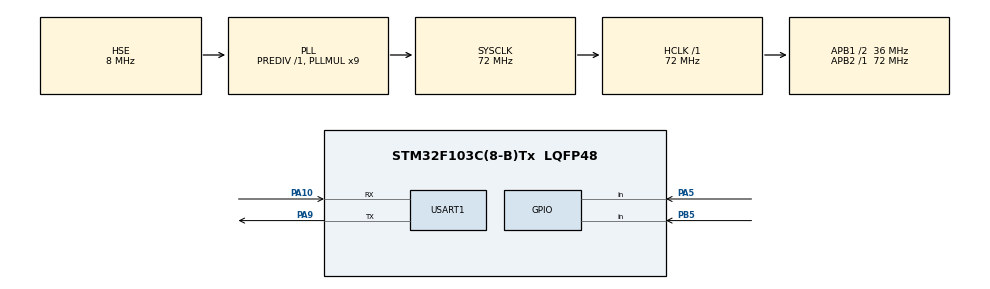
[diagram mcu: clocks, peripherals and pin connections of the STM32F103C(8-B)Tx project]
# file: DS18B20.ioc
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Mcu.Family=STM32F1
Mcu.Name=STM32F103C(8-B)Tx
Mcu.Package=LQFP48
NVIC.PriorityGroup=NVIC_PRIORITYGROUP_4
PA10.Mode=Asynchronous
PA10.Signal=USART1_RX
PA13.Mode=Serial_Wire
PA13.Signal=SYS_JTMS-SWDIO
PA14.Mode=Serial_Wire
PA14.Signal=SYS_JTCK-SWCLK
PA5.Signal=GPIO_Input
PA9.Mode=Asynchronous
PA9.Signal=USART1_TX
PB5.Signal=GPIO_Input
PD0-OSC_IN.Mode=HSE-External-Oscillator
PD0-OSC_IN.Signal=RCC_OSC_IN
PD1-OSC_OUT.Mode=HSE-External-Oscillator
PD1-OSC_OUT.Signal=RCC_OSC_OUT
ProjectManager.HeapSize=0x200
ProjectManager.StackSize=0x400
ProjectManager.TargetToolchain=MDK-ARM V5.27
RCC.AHBFreq_Value=72000000
RCC.APB1CLKDivider=RCC_HCLK_DIV2
RCC.APB1Freq_Value=36000000
RCC.APB1TimFreq_Value=72000000
RCC.APB2Freq_Value=72000000
RCC.APB2TimFreq_Value=72000000
RCC.HCLKFreq_Value=72000000
RCC.PLLMUL=RCC_PLL_MUL9
RCC.PLLSourceVirtual=RCC_PLLSOURCE_HSE
RCC.SYSCLKFreq_VALUE=72000000
RCC.SYSCLKSource=RCC_SYSCLKSOURCE_PLLCLK
RCC.USBFreq_Value=72000000
USART1.VirtualMode=VM_ASYNC
board=custom

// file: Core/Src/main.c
/* USER CODE BEGIN Header */
/**
  ******************************************************************************
  * @file           : main.c
  * @brief          : Main program body
  ******************************************************************************
  * @attention
  *
  * <h2><center>&copy; Copyright (c) 2024 STMicroelectronics.
  * All rights reserved.</center></h2>
  *
  * This software component is licensed by ST under BSD 3-Clause license,
  * the "License"; You may not use this file except in compliance with the
  * License. You may obtain a copy of the License at:
  *                        opensource.org/licenses/BSD-3-Clause
  *
  ******************************************************************************
  */
/* USER CODE END Header */
#include "main.h"

/* USER CODE BEGIN Includes */

#include "18b20.h"
/* USER CODE END Includes */

UART_HandleTypeDef huart1;

/* USER CODE BEGIN PV */
#include <stdio.h>
 //重定向c库函数printf到串口USARTx，重定向后可使用printf函数
 int fputc(int ch, FILE *f)
 {
     /* 发送一个字节数据到串口USARTx */
     HAL_UART_Transmit(&huart1, (uint8_t *)&ch, 1, 0xFFFF);
     return (ch);
 }

/* USER CODE END PV */

void SystemClock_Config(void);
static void MX_GPIO_Init(void);
static void MX_USART1_UART_Init(void);

int main(void)
{
  /* USER CODE BEGIN 1 */
 float temperature = 0;
  /* USER CODE END 1 */

  /* MCU Configuration--------------------------------------------------------*/

  /* Reset of all peripherals, Initializes the Flash interface and the Systick. */
  HAL_Init();

  /* Configure the system clock */
  SystemClock_Config();

  /* Initialize all configured peripherals */
  MX_GPIO_Init();
  MX_USART1_UART_Init();
  /* USER CODE BEGIN 2 */
    while(DS18B20_Init())
    {
        printf("DS18B20 checked failed!!!\r\n");
        HAL_Delay(500);
    }
    printf("DS18B20 checked success!!!\r\n");
  /* USER CODE END 2 */

  /* Infinite loop */
  /* USER CODE BEGIN WHILE */
  while (1)
  {
       temperature = DS18B20_Get_Temperature();
		if(temperature < 0)
            printf("temperature = -%.2f degree\r\n",temperature/10);
		else
            printf("temperature = %.2f degree\r\n",temperature/10);
		HAL_Delay(200);
    /* USER CODE END WHILE */

  }
}

void SystemClock_Config(void)
{
  RCC_OscInitTypeDef RCC_OscInitStruct = {0};
  RCC_ClkInitTypeDef RCC_ClkInitStruct = {0};

  /** Initializes the RCC Oscillators according to the specified parameters
  * in the RCC_OscInitTypeDef structure.
  */
  RCC_OscInitStruct.OscillatorType = RCC_OSCILLATORTYPE_HSE;
  RCC_OscInitStruct.HSEState = RCC_HSE_ON;
  RCC_OscInitStruct.HSEPredivValue = RCC_HSE_PREDIV_DIV1;
  RCC_OscInitStruct.HSIState = RCC_HSI_ON;
  RCC_OscInitStruct.PLL.PLLState = RCC_PLL_ON;
  RCC_OscInitStruct.PLL.PLLSource = RCC_PLLSOURCE_HSE;
  RCC_OscInitStruct.PLL.PLLMUL = RCC_PLL_MUL9;
  if (HAL_RCC_OscConfig(&RCC_OscInitStruct) != HAL_OK)
  {
    Error_Handler();
  }
  /** Initializes the CPU, AHB and APB buses clocks
  */
  RCC_ClkInitStruct.ClockType = RCC_CLOCKTYPE_HCLK|RCC_CLOCKTYPE_SYSCLK
                              |RCC_CLOCKTYPE_PCLK1|RCC_CLOCKTYPE_PCLK2;
  RCC_ClkInitStruct.SYSCLKSource = RCC_SYSCLKSOURCE_PLLCLK;
  RCC_ClkInitStruct.AHBCLKDivider = RCC_SYSCLK_DIV1;
  RCC_ClkInitStruct.APB1CLKDivider = RCC_HCLK_DIV2;
  RCC_ClkInitStruct.APB2CLKDivider = RCC_HCLK_DIV1;

  if (HAL_RCC_ClockConfig(&RCC_ClkInitStruct, FLASH_LATENCY_2) != HAL_OK)
  {
    Error_Handler();
  }
}

static void MX_USART1_UART_Init(void)
{

  huart1.Instance = USART1;
  huart1.Init.BaudRate = 115200;
  huart1.Init.WordLength = UART_WORDLENGTH_8B;
  huart1.Init.StopBits = UART_STOPBITS_1;
  huart1.Init.Parity = UART_PARITY_NONE;
  huart1.Init.Mode = UART_MODE_TX_RX;
  huart1.Init.HwFlowCtl = UART_HWCONTROL_NONE;
  huart1.Init.OverSampling = UART_OVERSAMPLING_16;
  if (HAL_UART_Init(&huart1) != HAL_OK)
  {
    Error_Handler();
  }

}

static void MX_GPIO_Init(void)
{
  GPIO_InitTypeDef GPIO_InitStruct = {0};

  /* GPIO Ports Clock Enable */
  __HAL_RCC_GPIOD_CLK_ENABLE();
  __HAL_RCC_GPIOA_CLK_ENABLE();
  __HAL_RCC_GPIOB_CLK_ENABLE();

  /*Configure GPIO pin : PA5 */
  GPIO_InitStruct.Pin = GPIO_PIN_5;
  GPIO_InitStruct.Mode = GPIO_MODE_INPUT;
  GPIO_InitStruct.Pull = GPIO_NOPULL;
  HAL_GPIO_Init(GPIOA, &GPIO_InitStruct);

  /*Configure GPIO pin : PB5 */
  GPIO_InitStruct.Pin = GPIO_PIN_5;
  GPIO_InitStruct.Mode = GPIO_MODE_INPUT;
  GPIO_InitStruct.Pull = GPIO_NOPULL;
  HAL_GPIO_Init(GPIOB, &GPIO_InitStruct);

}

void Error_Handler(void)
{
  __disable_irq();
  while (1)
  {
  }
}

/************************ (C) COPYRIGHT STMicroelectronics *****END OF FILE****/
